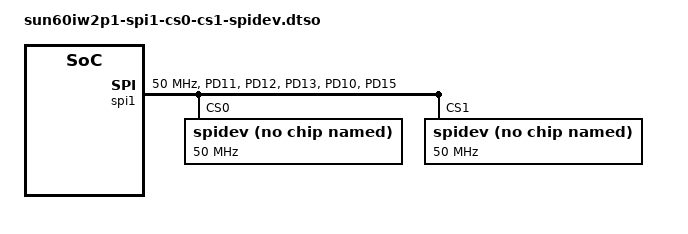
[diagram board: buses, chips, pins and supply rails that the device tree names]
/dts-v1/;
/plugin/;

#include <dt-bindings/spi/sunxi-spi.h>

/ {
	metadata {
		title = "Enable dual-CS spidev on SPI1";
		compatible = "radxa,cm-a7-rpi-cm5-io";
		category = "misc";
		exclusive = "spi1", "PD10", "PD11", "PD12", "PD13", "PD15";
		description = "Enable SPI1 MOSI/MISO/CLK on physical pins 19/21/23 and native CS0/CS1 on physical pins 24/26.";
	};
};

&pio {
	spi1_pins_default: spi1-pins-default {
		pins = "PD11", "PD12", "PD13";
		function = "spi1";
		drive-strength = <10>;
	};

	spi1_pins_cs: spi1-pins-cs {
		pins = "PD10", "PD15";
		function = "spi1";
		drive-strength = <10>;
		bias-pull-up;
	};

	spi1_pins_sleep: spi1-pins-sleep {
		pins = "PD10", "PD11", "PD12", "PD13", "PD15";
		function = "gpio_in";
		drive-strength = <10>;
	};
};

&spi1 {
	#address-cells = <1>;
	#size-cells = <0>;
	clock-frequency = <50000000>;
	pinctrl-0 = <&spi1_pins_default &spi1_pins_cs>;
	pinctrl-1 = <&spi1_pins_sleep>;
	pinctrl-names = "default", "sleep";
	sunxi,spi-num-cs = <2>;
	sunxi,spi-bus-mode = <SUNXI_SPI_BUS_MASTER>;
	sunxi,spi-cs-mode = <SUNXI_SPI_CS_AUTO>;
	status = "okay";

	spidev@0 {
		compatible = "rohm,dh2228fv";
		reg = <0>;
		spi-max-frequency = <50000000>;
		spi-rx-bus-width = <1>;
		spi-tx-bus-width = <1>;
		status = "okay";
	};

	spidev@1 {
		compatible = "rohm,dh2228fv";
		reg = <1>;
		spi-max-frequency = <50000000>;
		spi-rx-bus-width = <1>;
		spi-tx-bus-width = <1>;
		status = "okay";
	};
};
